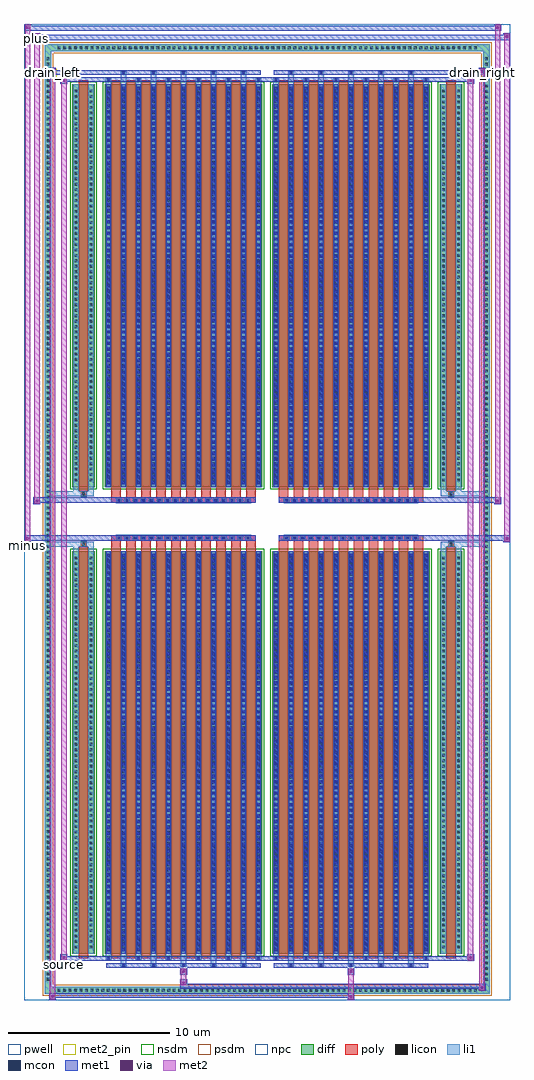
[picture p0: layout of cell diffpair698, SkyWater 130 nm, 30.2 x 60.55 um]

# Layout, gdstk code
import gdstk
lib = gdstk.Library(unit=1e-6, precision=5e-09)
def R(c, l, rs):  # rectangles x0, y0, x1, y1
    for r in rs: c.add(gdstk.rectangle(r[:2], r[2:], *l))
def A(c, l, x, y, w, h, nx, ny, dx, dy):  # array of equal rectangles
    R(c, l, [(x+i*dx, y+j*dy, x+i*dx+w, y+j*dy+h) for i in range(nx) for j in range(ny)])
def P(c, l, *ps):  # polygons
    for p in ps: c.add(gdstk.Polygon(p, *l))
pwell = (64, 44)
diff = (65, 20)
poly = (66, 20)
licon = (66, 44)
li1 = (67, 20)
mcon = (67, 44)
met1 = (68, 20)
via = (68, 44)
met2_pin = (69, 16)
met2 = (69, 20)
nsdm = (93, 44)
psdm = (94, 20)
npc = (95, 20)

diffpair698 = lib.new_cell('diffpair698')
R(diffpair698, pwell, [(-15.08,-29.84,15.08,30.71), (-12.4,-28.03,-0.01,-0.805), (0.01,-28.03,12.4,-0.805), (-12.4,0.805,-0.01,28.03), (0.01,0.805,12.4,28.03)])
A(diffpair698, diff, -13.125, -29.44, 0.41, 0.41, 77, 2, 0.34, 58.47)
A(diffpair698, diff, -13.81, -28.765, 0.41, 0.41, 1, 169, 0, 0.34)
A(diffpair698, diff, 13.4, -28.765, 0.41, 0.41, 1, 169, 0, 0.34)
R(diffpair698, diff, [(-13.125,-29.44,13.125,-29.03), (-13.81,-28.765,-13.4,28.765), (13.4,-28.765,13.81,28.765), (-12.09,-26.985,-10.71,-1.985), (-10.07,-26.985,-0.32,-1.985), (0.32,-26.985,10.07,-1.985), (10.71,-26.985,12.09,-1.985), (-12.09,1.985,-10.71,26.985), (-10.07,1.985,-0.32,26.985), (0.32,1.985,10.07,26.985), (10.71,1.985,12.09,26.985), (-13.125,29.03,13.125,29.44)])
P(diffpair698, diff, [(13.81,29.44),(-13.81,29.44),(-13.81,-29.03),(-13.4,-29.03),(-13.4,29.03),(13.4,29.03),(13.4,-29.03),(-13.4,-29.03),(-13.81,-29.03),(-13.81,-29.44),(13.81,-29.44)])
A(diffpair698, poly, -9.68, -27.235, 0.6, 25.5, 10, 2, 0.93, 28.97)
A(diffpair698, poly, 0.71, -27.235, 0.6, 25.5, 10, 2, 0.93, 28.97)
A(diffpair698, poly, -9.68, -1.735, 0.6, 0.4, 10, 2, 0.93, 3.07)
A(diffpair698, poly, 0.71, -1.735, 0.6, 0.4, 10, 2, 0.93, 3.07)
A(diffpair698, poly, -9.36, -1.335, 0.33, 0.33, 17, 2, 0.5, 2.34)
A(diffpair698, poly, 1.03, -1.335, 0.33, 0.33, 17, 2, 0.5, 2.34)
R(diffpair698, poly, [(-11.7,-27.235,-11.1,-1.735), (11.1,-27.235,11.7,-1.735), (-11.565,-1.735,-11.235,-1.405), (-11.565,-1.735,-11.235,-1.405), (11.235,-1.735,11.565,-1.405), (11.235,-1.735,11.565,-1.405), (-9.68,-1.335,-0.71,-1.005), (0.71,-1.335,9.68,-1.005), (-9.68,1.005,-0.71,1.335), (0.71,1.005,9.68,1.335), (-11.565,1.405,-11.235,1.735), (-11.565,1.405,-11.235,1.735), (11.235,1.405,11.565,1.735), (11.235,1.405,11.565,1.735), (-11.7,1.735,-11.1,27.235), (11.1,1.735,11.7,27.235)])
A(diffpair698, licon, -13.005, -29.32, 0.17, 0.17, 77, 2, 0.34, 58.47)
A(diffpair698, licon, -13.69, -28.645, 0.17, 0.17, 1, 169, 0, 0.34)
A(diffpair698, licon, 13.52, -28.645, 0.17, 0.17, 1, 169, 0, 0.34)
A(diffpair698, licon, -11.95, -26.64, 0.17, 0.17, 1, 72, 0, 0.34)
A(diffpair698, licon, -11.02, -26.64, 0.17, 0.17, 1, 72, 0, 0.34)
A(diffpair698, licon, -9.93, -26.64, 0.17, 0.17, 11, 72, 0.93, 0.34)
A(diffpair698, licon, 0.46, -26.64, 0.17, 0.17, 11, 72, 0.93, 0.34)
A(diffpair698, licon, 10.85, -26.64, 0.17, 0.17, 1, 72, 0, 0.34)
A(diffpair698, licon, 11.78, -26.64, 0.17, 0.17, 1, 72, 0, 0.34)
A(diffpair698, licon, -9.28, -1.255, 0.17, 0.17, 17, 2, 0.5, 2.34)
A(diffpair698, licon, 1.11, -1.255, 0.17, 0.17, 17, 2, 0.5, 2.34)
A(diffpair698, licon, -11.95, 2.33, 0.17, 0.17, 1, 72, 0, 0.34)
A(diffpair698, licon, -11.02, 2.33, 0.17, 0.17, 1, 72, 0, 0.34)
A(diffpair698, licon, -9.93, 2.33, 0.17, 0.17, 11, 72, 0.93, 0.34)
A(diffpair698, licon, 0.46, 2.33, 0.17, 0.17, 11, 72, 0.93, 0.34)
A(diffpair698, licon, 10.85, 2.33, 0.17, 0.17, 1, 72, 0, 0.34)
A(diffpair698, licon, 11.78, 2.33, 0.17, 0.17, 1, 72, 0, 0.34)
R(diffpair698, licon, [(-11.485,-1.655,-11.315,-1.485), (11.315,-1.655,11.485,-1.485), (-11.485,1.485,-11.315,1.655), (11.315,1.485,11.485,1.655)])
A(diffpair698, li1, -13.085, -29.4, 0.33, 0.33, 77, 2, 0.34, 58.47)
A(diffpair698, li1, -13.77, -28.725, 0.33, 0.33, 1, 169, 0, 0.34)
A(diffpair698, li1, 13.44, -28.725, 0.33, 0.33, 1, 169, 0, 0.34)
A(diffpair698, li1, -9.08, -27.79, 0.33, 0.805, 5, 2, 1.86, 54.775)
A(diffpair698, li1, -9, -27.79, 0.17, 0.17, 5, 2, 1.86, 55.41)
A(diffpair698, li1, 1.31, -27.79, 0.33, 0.805, 5, 2, 1.86, 54.775)
A(diffpair698, li1, 1.39, -27.79, 0.17, 0.17, 5, 2, 1.86, 55.41)
A(diffpair698, li1, -10.01, -27.36, 0.33, 0.375, 6, 2, 1.86, 54.345)
A(diffpair698, li1, -9.93, -27.36, 0.17, 0.17, 6, 2, 1.86, 54.55)
A(diffpair698, li1, 0.38, -27.36, 0.33, 0.375, 6, 2, 1.86, 54.345)
A(diffpair698, li1, 0.46, -27.36, 0.17, 0.17, 6, 2, 1.86, 54.55)
A(diffpair698, li1, -10.01, -26.985, 0.33, 25, 11, 2, 0.93, 28.97)
A(diffpair698, li1, 0.38, -26.985, 0.33, 25, 11, 2, 0.93, 28.97)
A(diffpair698, li1, -9.93, -26.81, 0.17, 0.17, 11, 69, 0.93, 0.36)
A(diffpair698, li1, -9.93, -26.81, 0.17, 24.65, 11, 2, 0.93, 28.97)
A(diffpair698, li1, 0.46, -26.81, 0.17, 0.17, 11, 69, 0.93, 0.36)
A(diffpair698, li1, 0.46, -26.81, 0.17, 24.65, 11, 2, 0.93, 28.97)
A(diffpair698, li1, -12.03, -26.72, 0.33, 0.33, 1, 72, 0, 0.34)
A(diffpair698, li1, -11.1, -26.72, 0.33, 0.33, 1, 72, 0, 0.34)
A(diffpair698, li1, -10.01, -26.72, 0.33, 0.33, 11, 72, 0.93, 0.34)
A(diffpair698, li1, 0.38, -26.72, 0.33, 0.33, 11, 72, 0.93, 0.34)
A(diffpair698, li1, 10.77, -26.72, 0.33, 0.33, 1, 72, 0, 0.34)
A(diffpair698, li1, 11.7, -26.72, 0.33, 0.33, 1, 72, 0, 0.34)
A(diffpair698, li1, -9.36, -1.335, 0.33, 0.33, 17, 2, 0.5, 2.34)
A(diffpair698, li1, 1.03, -1.335, 0.33, 0.33, 17, 2, 0.5, 2.34)
A(diffpair698, li1, -9.93, 2.16, 0.17, 0.17, 11, 69, 0.93, 0.36)
A(diffpair698, li1, 0.46, 2.16, 0.17, 0.17, 11, 69, 0.93, 0.36)
A(diffpair698, li1, -12.03, 2.25, 0.33, 0.33, 1, 72, 0, 0.34)
A(diffpair698, li1, -11.1, 2.25, 0.33, 0.33, 1, 72, 0, 0.34)
A(diffpair698, li1, -10.01, 2.25, 0.33, 0.33, 11, 72, 0.93, 0.34)
A(diffpair698, li1, 0.38, 2.25, 0.33, 0.33, 11, 72, 0.93, 0.34)
A(diffpair698, li1, 10.77, 2.25, 0.33, 0.33, 1, 72, 0, 0.34)
A(diffpair698, li1, 11.7, 2.25, 0.33, 0.33, 1, 72, 0, 0.34)
R(diffpair698, li1, [(-13.81,-29.44,-13.4,-29.03), (-13.81,-29.44,-13.4,-29.03), (-13.4,-29.44,13.4,-29.03), (13.4,-29.44,13.81,-29.03), (13.4,-29.44,13.81,-29.03), (-13.81,-29.03,-13.4,29.03), (13.4,-29.03,13.81,29.03), (-12.03,-26.985,-11.7,-1.985), (-11.1,-26.985,-10.77,-1.985), (10.77,-26.985,11.1,-1.985), (11.7,-26.985,12.03,-1.985), (-12.03,-1.985,-11.7,-1.405), (-11.1,-1.985,-10.77,-1.405), (10.77,-1.985,11.1,-1.405), (11.7,-1.985,12.03,-1.405), (-13.81,-1.735,-11.565,-1.405), (-12.03,-1.735,-11.565,-1.405), (-11.565,-1.735,-11.235,-1.405), (-11.235,-1.735,-10.77,-1.405), (10.77,-1.735,11.235,-1.405), (11.235,-1.735,11.565,-1.405), (11.235,-1.735,13.81,-1.405), (11.565,-1.735,12.03,-1.405), (-13.81,1.405,-11.565,1.735), (-12.03,1.405,-11.565,1.735), (-12.03,1.405,-11.7,1.985), (-11.565,1.405,-11.235,1.735), (-11.235,1.405,-10.77,1.735), (-11.1,1.405,-10.77,1.985), (10.77,1.405,11.235,1.735), (10.77,1.405,11.1,1.985), (11.235,1.405,11.565,1.735), (11.235,1.405,13.81,1.735), (11.565,1.405,12.03,1.735), (11.7,1.405,12.03,1.985), (-12.03,1.985,-11.7,26.985), (-11.1,1.985,-10.77,26.985), (10.77,1.985,11.1,26.985), (11.7,1.985,12.03,26.985), (-13.81,29.03,-13.4,29.44), (-13.81,29.03,-13.4,29.44), (-13.4,29.03,13.4,29.44), (13.4,29.03,13.81,29.44), (13.4,29.03,13.81,29.44)])
A(diffpair698, mcon, -9, -27.79, 0.17, 0.17, 5, 2, 1.86, 55.41)
A(diffpair698, mcon, 1.39, -27.79, 0.17, 0.17, 5, 2, 1.86, 55.41)
A(diffpair698, mcon, -9.93, -27.36, 0.17, 0.17, 6, 2, 1.86, 54.55)
A(diffpair698, mcon, 0.46, -27.36, 0.17, 0.17, 6, 2, 1.86, 54.55)
A(diffpair698, mcon, -9.93, -26.81, 0.17, 0.17, 11, 69, 0.93, 0.36)
A(diffpair698, mcon, 0.46, -26.81, 0.17, 0.17, 11, 69, 0.93, 0.36)
A(diffpair698, mcon, -9.28, -1.255, 0.17, 0.17, 17, 2, 0.5, 2.34)
A(diffpair698, mcon, 1.11, -1.255, 0.17, 0.17, 17, 2, 0.5, 2.34)
A(diffpair698, mcon, -9.93, 2.16, 0.17, 0.17, 11, 69, 0.93, 0.36)
A(diffpair698, mcon, 0.46, 2.16, 0.17, 0.17, 11, 69, 0.93, 0.36)
A(diffpair698, met1, -9.06, -27.85, 0.29, 0.29, 5, 2, 1.86, 55.41)
A(diffpair698, met1, 1.33, -27.85, 0.29, 0.29, 5, 2, 1.86, 55.41)
A(diffpair698, met1, -9.99, -27.42, 0.29, 0.29, 6, 2, 1.86, 54.55)
A(diffpair698, met1, 0.4, -27.42, 0.29, 0.29, 6, 2, 1.86, 54.55)
A(diffpair698, met1, -9.99, -26.985, 0.29, 25, 11, 2, 0.93, 28.97)
A(diffpair698, met1, 0.4, -26.985, 0.29, 25, 11, 2, 0.93, 28.97)
A(diffpair698, met1, -9.99, -26.87, 0.29, 0.29, 11, 69, 0.93, 0.36)
A(diffpair698, met1, 0.4, -26.87, 0.29, 0.29, 11, 69, 0.93, 0.36)
A(diffpair698, met1, -9.34, -1.315, 0.29, 0.29, 17, 2, 0.5, 2.34)
A(diffpair698, met1, 1.05, -1.315, 0.29, 0.29, 17, 2, 0.5, 2.34)
A(diffpair698, met1, -9.99, 2.1, 0.29, 0.29, 11, 69, 0.93, 0.36)
A(diffpair698, met1, 0.4, 2.1, 0.29, 0.29, 11, 69, 0.93, 0.36)
R(diffpair698, met1, [(-13.54,-29.84,-13.11,-29.41), (4.98,-29.84,5.41,-29.41), (-13.54,-29.7,5.41,-29.41), (13.11,-29.27,13.54,-28.84), (-5.41,-29.13,13.54,-28.84), (-5.41,-28.99,-4.98,-28.56), (-5.41,-28.28,-4.98,-27.85), (4.98,-28.28,5.41,-27.85), (-9.99,-27.85,-0.4,-27.56), (0.4,-27.85,9.99,-27.56), (-12.83,-27.42,-12.4,-26.99), (-12.83,-27.42,-9.99,-27.13), (-9.99,-27.42,-0.4,-27.13), (-0.4,-27.42,0.4,-27.13), (0.4,-27.42,9.99,-27.13), (9.99,-27.42,12.83,-27.13), (12.4,-27.42,12.83,-26.99), (-15.08,-1.435,-14.65,-1.005), (14.65,-1.435,15.08,-1.005), (-15.08,-1.335,-0.71,-1.005), (-9.68,-1.335,-0.71,-1.005), (0.71,-1.335,9.68,-1.005), (0.71,-1.335,15.08,-1.005), (-14.51,0.905,-14.08,1.335), (14.08,0.905,14.51,1.335), (-14.51,1.005,-9.68,1.335), (-9.68,1.005,-0.71,1.335), (0.71,1.005,9.68,1.335), (9.68,1.005,14.51,1.335), (-12.83,26.99,-12.4,27.42), (12.4,26.99,12.83,27.42), (-12.83,27.13,-9.99,27.42), (-9.99,27.13,-0.4,27.42), (-0.4,27.13,0.4,27.42), (0.4,27.13,9.99,27.42), (9.99,27.13,12.83,27.42), (-13.54,27.56,-13.11,27.99), (-13.54,27.56,-9.99,27.85), (-9.99,27.56,-0.4,27.85), (0.4,27.56,9.99,27.85), (9.99,27.56,13.54,27.85), (13.11,27.56,13.54,27.99), (-14.51,29.71,-14.08,30.14), (-14.51,29.71,-12.4,30.04), (-12.4,29.71,12.4,30.04), (12.4,29.71,15.08,30.04), (14.65,29.71,15.08,30.14), (-15.08,30.28,-14.65,30.71), (-15.08,30.28,-12.4,30.61), (-12.4,30.28,12.4,30.61), (12.4,30.28,14.51,30.61), (14.08,30.28,14.51,30.71)])
R(diffpair698, via, [(-13.4,-29.7,-13.25,-29.55), (5.12,-29.7,5.27,-29.55), (13.25,-29.13,13.4,-28.98), (-5.27,-28.85,-5.12,-28.7), (-5.27,-28.14,-5.12,-27.99), (5.12,-28.14,5.27,-27.99), (-12.69,-27.28,-12.54,-27.13), (12.54,-27.28,12.69,-27.13), (-14.94,-1.295,-14.79,-1.145), (14.79,-1.295,14.94,-1.145), (-14.37,1.045,-14.22,1.195), (14.22,1.045,14.37,1.195), (-12.69,27.13,-12.54,27.28), (12.54,27.13,12.69,27.28), (-13.4,27.7,-13.25,27.85), (13.25,27.7,13.4,27.85), (-14.37,29.85,-14.22,30), (14.79,29.85,14.94,30), (-14.94,30.42,-14.79,30.57), (14.22,30.42,14.37,30.57)])
R(diffpair698, met2_pin, [(-12.865,-27.87,-12.365,-27.37), (-15.115,-1.885,-14.615,-1.385), (-13.575,27.44,-13.075,27.94), (13.075,27.44,13.575,27.94), (-14.545,29.59,-14.045,30.09)])
R(diffpair698, met2, [(-13.49,-29.79,-13.16,-29.46), (-13.49,-29.79,-13.16,27.94), (5.03,-29.79,5.36,-29.46), (5.03,-29.46,5.36,-28.23), (13.16,-29.22,13.49,-28.89), (13.16,-29.22,13.49,27.94), (-5.36,-28.94,-5.03,-28.61), (-5.36,-28.61,-5.03,-28.23), (-5.36,-28.23,-5.03,-27.9), (5.03,-28.23,5.36,-27.9), (-12.78,-27.37,-12.45,-27.04), (-12.78,-27.37,-12.45,27.37), (12.45,-27.37,12.78,-27.04), (12.45,-27.37,12.78,27.37), (-15.03,-1.385,-14.7,-1.055), (-15.03,-1.385,-14.7,30.66), (14.7,-1.385,15.03,-1.055), (14.7,-1.385,15.03,30.09), (-14.46,0.955,-14.13,1.285), (-14.46,0.955,-14.13,30.09), (14.13,0.955,14.46,1.285), (14.13,0.955,14.46,30.66), (-12.78,27.04,-12.45,27.37), (12.45,27.04,12.78,27.37), (-13.49,27.61,-13.16,27.94), (13.16,27.61,13.49,27.94), (-14.46,29.76,-14.13,30.09), (14.7,29.76,15.03,30.09), (-15.03,30.33,-14.7,30.66), (14.13,30.33,14.46,30.66)])
P(diffpair698, met2, [(15.03,-1.385),(15.03,-1.385),(15.03,-1.055),(15.03,-1.055)],
  [(15.03,29.76),(15.03,29.76),(15.03,30.09),(15.03,30.09)],
  [(-14.7,-1.385),(-14.7,-1.385),(-14.7,-1.055),(-14.7,-1.055)],
  [(-14.7,30.33),(-14.7,30.33),(-14.7,30.66),(-14.7,30.66)],
  [(14.46,0.955),(14.46,0.955),(14.46,1.285),(14.46,1.285)],
  [(14.46,30.33),(14.46,30.33),(14.46,30.66),(14.46,30.66)],
  [(-14.13,0.955),(-14.13,0.955),(-14.13,1.285),(-14.13,1.285)],
  [(-14.13,29.76),(-14.13,29.76),(-14.13,30.09),(-14.13,30.09)],
  [(-13.16,-29.79),(-13.16,-29.79),(-13.16,-29.46),(-13.16,-29.46)],
  [(-13.16,27.61),(-13.16,27.61),(-13.16,27.94),(-13.16,27.94)],
  [(13.49,-29.22),(13.49,-29.22),(13.49,-28.89),(13.49,-28.89)],
  [(13.49,27.61),(13.49,27.61),(13.49,27.94),(13.49,27.94)],
  [(-12.45,-27.37),(-12.45,-27.37),(-12.45,-27.04),(-12.45,-27.04)],
  [(-12.45,27.04),(-12.45,27.04),(-12.45,27.37),(-12.45,27.37)],
  [(12.78,-27.37),(12.78,-27.37),(12.78,-27.04),(12.78,-27.04)],
  [(12.78,27.04),(12.78,27.04),(12.78,27.37),(12.78,27.37)])
R(diffpair698, nsdm, [(-12.22,-27.115,-10.58,-1.855), (-10.2,-27.115,-0.19,-1.855), (0.19,-27.115,10.2,-1.855), (10.58,-27.115,12.22,-1.855), (-12.22,1.855,-10.58,27.115), (-10.2,1.855,-0.19,27.115), (0.19,1.855,10.2,27.115), (10.58,1.855,12.22,27.115)])
P(diffpair698, psdm, [(13.94,29.57),(-13.94,29.57),(-13.94,-28.9),(-13.27,-28.9),(-13.27,28.9),(13.27,28.9),(13.27,-28.9),(-13.27,-28.9),(-13.94,-28.9),(-13.94,-29.57),(13.94,-29.57)])
A(diffpair698, npc, -9.38, -1.355, 0.37, 0.37, 17, 2, 0.5, 2.34)
A(diffpair698, npc, 1.01, -1.355, 0.37, 0.37, 17, 2, 0.5, 2.34)
R(diffpair698, npc, [(-11.585,-1.755,-11.215,-1.385), (11.215,-1.755,11.585,-1.385), (-9.38,-1.355,-8.51,-0.985), (-9.38,-1.355,-8.51,-0.985), (-8.88,-1.355,-8.01,-0.985), (-8.88,-1.355,-8.01,-0.985), (-8.38,-1.355,-7.51,-0.985), (-8.38,-1.355,-7.51,-0.985), (-7.88,-1.355,-7.01,-0.985), (-7.88,-1.355,-7.01,-0.985), (-7.38,-1.355,-6.51,-0.985), (-7.38,-1.355,-6.51,-0.985), (-6.88,-1.355,-6.01,-0.985), (-6.88,-1.355,-6.01,-0.985), (-6.38,-1.355,-5.51,-0.985), (-6.38,-1.355,-5.51,-0.985), (-5.88,-1.355,-5.01,-0.985), (-5.88,-1.355,-5.01,-0.985), (-5.38,-1.355,-4.51,-0.985), (-5.38,-1.355,-4.51,-0.985), (-4.88,-1.355,-4.01,-0.985), (-4.88,-1.355,-4.01,-0.985), (-4.38,-1.355,-3.51,-0.985), (-4.38,-1.355,-3.51,-0.985), (-3.88,-1.355,-3.01,-0.985), (-3.88,-1.355,-3.01,-0.985), (-3.38,-1.355,-2.51,-0.985), (-3.38,-1.355,-2.51,-0.985), (-2.88,-1.355,-2.01,-0.985), (-2.88,-1.355,-2.01,-0.985), (-2.38,-1.355,-1.51,-0.985), (-2.38,-1.355,-1.51,-0.985), (-1.88,-1.355,-1.01,-0.985), (-1.88,-1.355,-1.01,-0.985), (1.01,-1.355,1.88,-0.985), (1.01,-1.355,1.88,-0.985), (1.51,-1.355,2.38,-0.985), (1.51,-1.355,2.38,-0.985), (2.01,-1.355,2.88,-0.985), (2.01,-1.355,2.88,-0.985), (2.51,-1.355,3.38,-0.985), (2.51,-1.355,3.38,-0.985), (3.01,-1.355,3.88,-0.985), (3.01,-1.355,3.88,-0.985), (3.51,-1.355,4.38,-0.985), (3.51,-1.355,4.38,-0.985), (4.01,-1.355,4.88,-0.985), (4.01,-1.355,4.88,-0.985), (4.51,-1.355,5.38,-0.985), (4.51,-1.355,5.38,-0.985), (5.01,-1.355,5.88,-0.985), (5.01,-1.355,5.88,-0.985), (5.51,-1.355,6.38,-0.985), (5.51,-1.355,6.38,-0.985), (6.01,-1.355,6.88,-0.985), (6.01,-1.355,6.88,-0.985), (6.51,-1.355,7.38,-0.985), (6.51,-1.355,7.38,-0.985), (7.01,-1.355,7.88,-0.985), (7.01,-1.355,7.88,-0.985), (7.51,-1.355,8.38,-0.985), (7.51,-1.355,8.38,-0.985), (8.01,-1.355,8.88,-0.985), (8.01,-1.355,8.88,-0.985), (8.51,-1.355,9.38,-0.985), (8.51,-1.355,9.38,-0.985), (-9.38,0.985,-8.51,1.355), (-9.38,0.985,-8.51,1.355), (-8.88,0.985,-8.01,1.355), (-8.88,0.985,-8.01,1.355), (-8.38,0.985,-7.51,1.355), (-8.38,0.985,-7.51,1.355), (-7.88,0.985,-7.01,1.355), (-7.88,0.985,-7.01,1.355), (-7.38,0.985,-6.51,1.355), (-7.38,0.985,-6.51,1.355), (-6.88,0.985,-6.01,1.355), (-6.88,0.985,-6.01,1.355), (-6.38,0.985,-5.51,1.355), (-6.38,0.985,-5.51,1.355), (-5.88,0.985,-5.01,1.355), (-5.88,0.985,-5.01,1.355), (-5.38,0.985,-4.51,1.355), (-5.38,0.985,-4.51,1.355), (-4.88,0.985,-4.01,1.355), (-4.88,0.985,-4.01,1.355), (-4.38,0.985,-3.51,1.355), (-4.38,0.985,-3.51,1.355), (-3.88,0.985,-3.01,1.355), (-3.88,0.985,-3.01,1.355), (-3.38,0.985,-2.51,1.355), (-3.38,0.985,-2.51,1.355), (-2.88,0.985,-2.01,1.355), (-2.88,0.985,-2.01,1.355), (-2.38,0.985,-1.51,1.355), (-2.38,0.985,-1.51,1.355), (-1.88,0.985,-1.01,1.355), (-1.88,0.985,-1.01,1.355), (1.01,0.985,1.88,1.355), (1.01,0.985,1.88,1.355), (1.51,0.985,2.38,1.355), (1.51,0.985,2.38,1.355), (2.01,0.985,2.88,1.355), (2.01,0.985,2.88,1.355), (2.51,0.985,3.38,1.355), (2.51,0.985,3.38,1.355), (3.01,0.985,3.88,1.355), (3.01,0.985,3.88,1.355), (3.51,0.985,4.38,1.355), (3.51,0.985,4.38,1.355), (4.01,0.985,4.88,1.355), (4.01,0.985,4.88,1.355), (4.51,0.985,5.38,1.355), (4.51,0.985,5.38,1.355), (5.01,0.985,5.88,1.355), (5.01,0.985,5.88,1.355), (5.51,0.985,6.38,1.355), (5.51,0.985,6.38,1.355), (6.01,0.985,6.88,1.355), (6.01,0.985,6.88,1.355), (6.51,0.985,7.38,1.355), (6.51,0.985,7.38,1.355), (7.01,0.985,7.88,1.355), (7.01,0.985,7.88,1.355), (7.51,0.985,8.38,1.355), (7.51,0.985,8.38,1.355), (8.01,0.985,8.88,1.355), (8.01,0.985,8.88,1.355), (8.51,0.985,9.38,1.355), (8.51,0.985,9.38,1.355), (-11.585,1.385,-11.215,1.755), (11.215,1.385,11.585,1.755)])
diffpair698.add(gdstk.Label('minus', (-14.865,-1.635), layer=69, texttype=5))
diffpair698.add(gdstk.Label('drain_right', (13.325,27.69), layer=69, texttype=5))
diffpair698.add(gdstk.Label('drain_left', (-13.325,27.69), layer=69, texttype=5))
diffpair698.add(gdstk.Label('source', (-12.615,-27.62), layer=69, texttype=5))
diffpair698.add(gdstk.Label('plus', (-14.295,29.84), layer=69, texttype=5))

lib.write_gds('diffpair698.gds')
